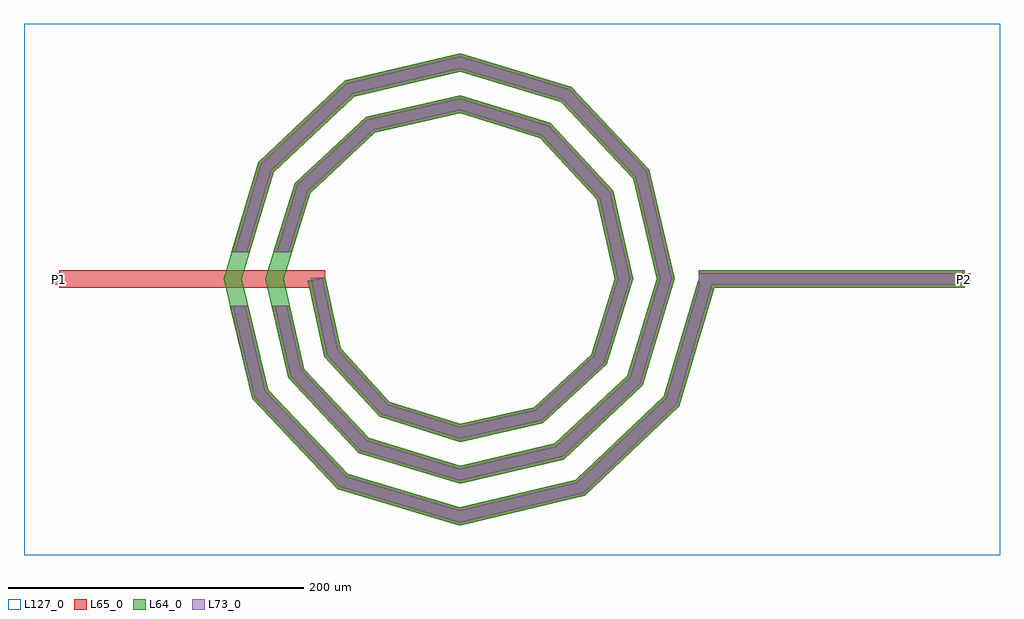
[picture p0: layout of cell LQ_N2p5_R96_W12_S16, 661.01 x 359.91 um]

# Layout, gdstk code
import gdstk
lib = gdstk.Library(unit=1e-6, precision=1e-09)
def R(c, l, rs):  # rectangles x0, y0, x1, y1
    for r in rs: c.add(gdstk.rectangle(r[:2], r[2:], *l))
def P(c, l, *ps):  # polygons
    for p in ps: c.add(gdstk.Polygon(p, *l))
L64_0 = (64, 0)
L65_0 = (65, 0)
L73_0 = (73, 0)
L127_0 = (127, 0)

lq_n2p5_r96_w12_s16 = lib.new_cell('LQ_N2p5_R96_W12_S16')
R(lq_n2p5_r96_w12_s16, L64_0, [(161.905,-6,341.905,6)])
P(lq_n2p5_r96_w12_s16, L64_0, [(-80.624,-46.866),(-47.575,-82.939),(0.262,-97.975),(50.39,-86.764),(89.062,-51.13),(105.055,0.246),(92.904,53.916),(54.683,95.186),(0.231,112.135),(-57.444,99.042),(-101.31,58.235),(-119.215,0.218),(-105.18,-60.973),(-61.785,-107.436),(0.206,-126.295),(64.503,-111.317),(113.562,-65.335),(133.375,0.196),(117.453,68.034),(68.883,119.688),(0.186,140.455),(-71.566,123.59),(-125.816,72.431),(-147.535,0.178),(-129.725,-75.099),(-75.978,-131.943),(0.17,-154.615),(78.633,-135.861),(138.071,-79.525),(162.153,1.705),(173.658,-1.705),(148.661,-86.02),(84.552,-146.784),(0.17,-167.034),(-82.487,-142.526),(-140.656,-81.005),(-159.954,0.178),(-136.39,78.953),(-77.458,134.528),(0.186,152.873),(75.421,130.254),(128.401,73.91),(145.793,0.196),(124.117,-71.889),(70.361,-122.274),(0.206,-138.712),(-68.358,-117.979),(-116.147,-66.811),(-131.631,0.218),(-111.841,64.828),(-63.259,110.021),(0.231,124.551),(61.299,105.702),(103.896,59.707),(117.47,0.246),(99.562,-57.772),(56.152,-97.772),(0.262,-110.389),(-54.247,-93.421),(-91.649,-52.596),(-102.961,-1.292),(-91.243,1.292)])
R(lq_n2p5_r96_w12_s16, L65_0, [(-271.102,-6,-91.102,6), (161.905,-6,341.905,6), (-275.102,-4,-267.102,4), (337.905,-4,345.905,4)])
P(lq_n2p5_r96_w12_s16, L65_0, [(-129.725,-75.099),(-75.978,-131.943),(0.17,-154.615),(78.633,-135.861),(138.071,-79.525),(162.153,1.705),(173.658,-1.705),(148.661,-86.021),(84.552,-146.784),(0.17,-167.035),(-82.487,-142.526),(-140.656,-81.005),(-155.633,-18),(-143.299,-18)],
  [(-105.18,-60.973),(-61.785,-107.436),(0.206,-126.295),(64.503,-111.317),(113.562,-65.335),(133.375,0.196),(117.454,68.034),(68.883,119.688),(0.187,140.455),(-71.566,123.59),(-125.816,72.431),(-142.098,18),(-154.623,18),(-136.39,78.953),(-77.458,134.528),(0.187,152.873),(75.421,130.254),(128.401,73.91),(145.793,0.196),(124.117,-71.889),(70.361,-122.274),(0.206,-138.712),(-68.358,-117.979),(-116.147,-66.811),(-127.423,-18),(-115.107,-18)],
  [(-47.575,-82.94),(0.262,-97.975),(50.39,-86.765),(89.062,-51.13),(105.055,0.246),(92.904,53.916),(54.683,95.186),(0.231,112.135),(-57.444,99.042),(-101.31,58.235),(-113.635,18),(-126.185,18),(-111.841,64.828),(-63.259,110.021),(0.231,124.551),(61.299,105.702),(103.896,59.707),(117.47,0.246),(99.562,-57.772),(56.152,-97.772),(0.262,-110.389),(-54.247,-93.421),(-91.649,-52.596),(-102.961,-1.292),(-91.243,1.292),(-80.624,-46.866)])
R(lq_n2p5_r96_w12_s16, L73_0, [(161.905,-4,341.905,4)])
P(lq_n2p5_r96_w12_s16, L73_0, [(-131.547,-76.084),(-77.063,-133.707),(0.113,-156.685),(79.619,-137.681),(139.836,-80.607),(164.07,1.137),(171.74,-1.137),(146.896,-84.938),(83.566,-144.963),(0.113,-164.965),(-81.402,-140.762),(-138.834,-80.021),(-153.577,-18),(-145.354,-18)],
  [(-107.008,-61.946),(-62.881,-109.193),(0.138,-128.364),(65.479,-113.143),(115.321,-66.427),(135.445,0.131),(119.278,69.014),(69.973,121.449),(0.124,142.525),(-72.548,125.413),(-127.578,73.518),(-144.185,18),(-152.535,18),(-134.628,77.866),(-76.476,132.705),(0.124,150.804),(74.331,128.493),(126.576,72.93),(143.723,0.131),(122.358,-70.797),(69.384,-120.448),(0.138,-136.643),(-67.263,-116.222),(-114.319,-65.838),(-125.37,-18),(-117.16,-18)],
  [(-48.687,-84.687),(0.175,-100.044),(51.35,-88.599),(90.812,-52.237),(107.124,0.164),(94.736,54.881),(55.786,96.938),(0.154,114.204),(-58.413,100.872),(-103.065,59.334),(-115.726,18),(-124.093,18),(-110.086,63.729),(-62.29,108.192),(0.154,122.481),(60.197,103.95),(102.064,58.742),(115.401,0.164),(97.812,-56.665),(55.192,-95.938),(0.175,-108.32),(-53.135,-91.674),(-89.811,-51.641),(-101.008,0.861),(-93.196,0.861),(-82.462,-47.821)])
R(lq_n2p5_r96_w12_s16, L127_0, [(-295.102,-187.035,365.905,172.873)])
lq_n2p5_r96_w12_s16.add(gdstk.Label('P2', (341.905,0), layer=65, texttype=0))
lq_n2p5_r96_w12_s16.add(gdstk.Label('P1', (-271.102,0), layer=65, texttype=0))
lq_n2p5_r96_w12_s16.add(gdstk.Label('P2', (345.905,0), layer=145, texttype=0))
lq_n2p5_r96_w12_s16.add(gdstk.Label('P1', (-275.102,0), layer=145, texttype=0))

lib.write_gds('LQ_N2p5_R96_W12_S16.gds')
